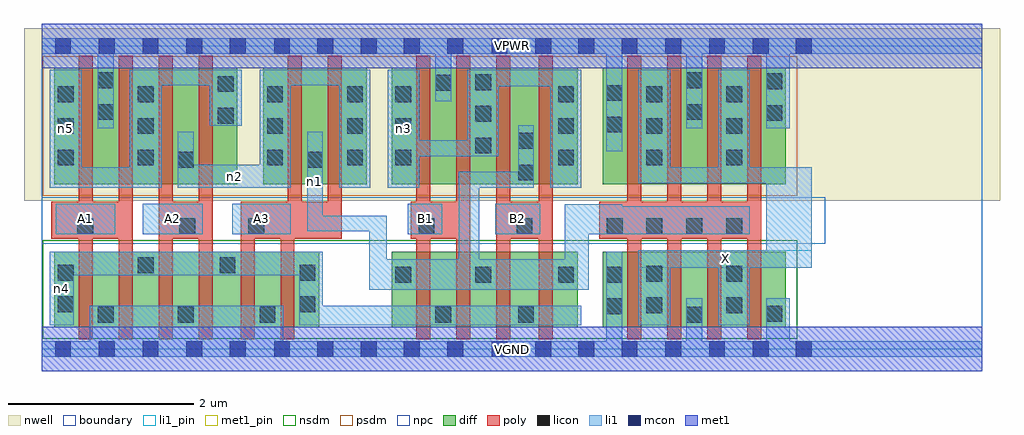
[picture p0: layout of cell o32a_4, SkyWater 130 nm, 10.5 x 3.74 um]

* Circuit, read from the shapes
.subckt o32a_4 A1 A2 A3 B1 B2 VGND VPWR X n1 n2 n3 n4 n5
XM1 VGND A1 n4 VSUBS sky130_fd_pr__nfet_01v8 w=0.81 l=0.15 m=2
XM2 VGND A2 n4 VSUBS sky130_fd_pr__nfet_01v8 w=0.81 l=0.15 m=2
XM3 VGND A3 n4 VSUBS sky130_fd_pr__nfet_01v8 w=0.81 l=0.15 m=2
XM4 n4 B1 n1 VSUBS sky130_fd_pr__nfet_01v8 w=0.81 l=0.15 m=2
XM5 n4 B2 n1 VSUBS sky130_fd_pr__nfet_01v8 w=0.81 l=0.15 m=2
XM6 X n1 VGND VSUBS sky130_fd_pr__nfet_01v8 w=0.81 l=0.15 m=4
XM7 VPWR A1 n5 n6 sky130_fd_pr__pfet_01v8 w=1.25 l=0.15 m=2
XM8 n2 A2 n5 n6 sky130_fd_pr__pfet_01v8 w=1.25 l=0.15 m=2
XM9 n1 A3 n2 n6 sky130_fd_pr__pfet_01v8 w=1.25 l=0.15 m=2
XM10 VPWR B1 n3 n6 sky130_fd_pr__pfet_01v8 w=1.25 l=0.15 m=2
XM11 n1 B2 n3 n6 sky130_fd_pr__pfet_01v8 w=1.25 l=0.15 m=2
XM12 X n1 VPWR n6 sky130_fd_pr__pfet_01v8 w=1.25 l=0.15 m=4
.ends

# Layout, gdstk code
import gdstk
lib = gdstk.Library(unit=1e-6, precision=1e-09)
def R(c, l, rs):  # rectangles x0, y0, x1, y1
    for r in rs: c.add(gdstk.rectangle(r[:2], r[2:], *l))
def A(c, l, x, y, w, h, nx, ny, dx, dy):  # array of equal rectangles
    R(c, l, [(x+i*dx, y+j*dy, x+i*dx+w, y+j*dy+h) for i in range(nx) for j in range(ny)])
nwell = (64, 20)
diff = (65, 20)
poly = (66, 20)
licon = (66, 44)
li1_pin = (67, 16)
li1 = (67, 20)
mcon = (67, 44)
met1_pin = (68, 16)
met1 = (68, 20)
nsdm = (93, 44)
psdm = (94, 20)
npc = (95, 20)
boundary = (235, 4)

o32a_4 = lib.new_cell('o32a_4')
R(o32a_4, nwell, [(-0.19,1.595,10.31,3.45), (0,1.595,10.12,3.45)])
R(o32a_4, diff, [(0.135,0.235,2.985,1.045), (3.765,0.235,5.765,1.045), (6.035,0.235,8.005,1.045), (0.135,1.775,2.105,3.025), (2.385,1.775,3.495,3.025), (3.765,1.775,5.765,3.025), (6.035,1.775,8.005,3.025)])
A(o32a_4, poly, 0.4, 0.105, 0.15, 3.05, 4, 1, 0.43, 0)
A(o32a_4, poly, 4.03, 0.105, 0.15, 3.05, 3, 1, 0.43, 0)
A(o32a_4, poly, 6.3, 0.105, 0.15, 3.05, 4, 1, 0.43, 0)
R(o32a_4, poly, [(2.14,0.105,2.29,1.585), (2.57,0.105,2.72,1.585), (5.35,0.105,5.5,3.155), (0.105,1.185,0.98,1.585), (1.26,1.185,1.84,1.585), (2.14,1.185,3.23,1.585), (2.65,1.185,2.8,3.155), (3.08,1.185,3.23,3.155), (3.97,1.185,4.61,1.585), (4.89,1.185,5.5,1.585), (6,1.185,7.74,1.585)])
A(o32a_4, licon, 6.505, 1.235, 0.17, 0.17, 3, 1, 0.43, 0)
A(o32a_4, licon, 0.175, 1.975, 0.17, 0.17, 1, 3, 0, 0.34)
A(o32a_4, licon, 1.035, 1.975, 0.17, 0.17, 1, 3, 0, 0.34)
A(o32a_4, licon, 2.425, 1.975, 0.17, 0.17, 1, 3, 0, 0.34)
A(o32a_4, licon, 3.285, 1.975, 0.17, 0.17, 1, 3, 0, 0.34)
A(o32a_4, licon, 3.805, 1.975, 0.17, 0.17, 1, 3, 0, 0.34)
A(o32a_4, licon, 5.555, 1.975, 0.17, 0.17, 1, 3, 0, 0.34)
A(o32a_4, licon, 6.505, 1.975, 0.17, 0.17, 1, 3, 0, 0.34)
A(o32a_4, licon, 7.365, 1.975, 0.17, 0.17, 1, 3, 0, 0.34)
A(o32a_4, licon, 4.665, 2.105, 0.17, 0.17, 1, 3, 0, 0.34)
R(o32a_4, licon, [(0.605,0.285,0.775,0.455), (1.465,0.285,1.635,0.455), (2.345,0.285,2.515,0.455), (4.235,0.285,4.405,0.455), (5.125,0.285,5.295,0.455), (6.935,0.285,7.105,0.455), (7.795,0.295,7.965,0.465), (6.075,0.375,6.245,0.545), (6.505,0.385,6.675,0.555), (7.365,0.385,7.535,0.555), (0.175,0.395,0.345,0.565), (2.775,0.395,2.945,0.565), (3.805,0.715,3.975,0.885), (4.665,0.715,4.835,0.885), (5.555,0.715,5.725,0.885), (6.075,0.715,6.245,0.885), (6.505,0.725,6.675,0.895), (7.365,0.725,7.535,0.895), (0.175,0.735,0.345,0.905), (2.775,0.735,2.945,0.905), (1.035,0.815,1.205,0.985), (1.915,0.815,2.085,0.985), (0.385,1.235,0.555,1.405), (1.48,1.235,1.65,1.405), (2.225,1.235,2.395,1.405), (4.055,1.235,4.225,1.405), (5.11,1.235,5.28,1.405), (6.08,1.235,6.25,1.405), (5.125,1.815,5.295,1.985), (1.465,1.95,1.635,2.12), (2.855,1.95,3.025,2.12), (5.125,2.155,5.295,2.325), (6.075,2.33,6.245,2.5), (1.895,2.425,2.065,2.595), (7.795,2.455,7.965,2.625), (0.605,2.465,0.775,2.635), (6.935,2.465,7.105,2.635), (6.075,2.67,6.245,2.84), (1.895,2.765,2.065,2.935), (4.235,2.78,4.405,2.95), (7.795,2.795,7.965,2.965), (0.605,2.805,0.775,2.975), (6.935,2.805,7.105,2.975)])
R(o32a_4, li1_pin, [(6.42,0.875,8.285,1.065), (0.15,1.235,0.79,1.565), (1.09,1.235,1.735,1.565), (2.05,1.235,2.68,1.565), (3.94,1.235,4.31,1.565), (4.88,1.235,5.365,1.565)])
R(o32a_4, li1, [(0,-0.085,10.12,0.085), (0.52,-0.085,2.6,0.465), (6.075,-0.085,6.245,1.045), (6.935,-0.085,7.105,0.545), (7.795,-0.085,8.05,0.545), (0.085,0.255,0.345,1.045), (2.77,0.255,5.805,0.465), (2.77,0.255,3.025,1.045), (6.42,0.255,6.76,1.065), (7.28,0.255,7.62,1.065), (3.525,0.635,5.885,0.965), (3.525,0.635,3.715,1.435), (4.485,0.635,4.71,1.905), (5.63,0.635,5.885,1.555), (0.085,0.795,3.025,1.045), (6.42,0.875,8.285,1.065), (7.795,0.875,8.285,1.955), (0.15,1.235,0.79,1.565), (1.09,1.235,1.735,1.565), (2.05,1.235,2.68,1.565), (3.94,1.235,4.31,1.565), (4.88,1.235,5.365,1.565), (5.63,1.235,7.62,1.535), (5.63,1.235,6.245,1.555), (2.855,1.265,3.025,2.335), (2.855,1.265,3.715,1.435), (0.085,1.735,0.43,3.005), (0.085,1.735,1.29,1.955), (0.95,1.735,1.29,3.005), (1.465,1.735,2.68,1.98), (1.465,1.735,1.635,2.335), (2.345,1.735,2.68,3.005), (3.2,1.735,3.535,3.005), (3.725,1.735,4.06,3.005), (4.485,1.735,5.295,1.905), (5.125,1.735,5.295,2.405), (5.47,1.735,5.805,3.005), (6.42,1.785,6.76,3.005), (6.42,1.785,8.285,1.955), (7.28,1.785,7.62,3.005), (3.725,2.075,4.92,2.245), (4.58,2.075,4.92,3.005), (6.075,2.125,6.245,3.345), (0.605,2.375,0.775,3.345), (6.935,2.375,7.105,3.345), (7.795,2.375,8.05,3.345), (1.81,2.4,2.15,3.005), (4.235,2.665,4.405,3.345), (4.58,2.825,5.805,3.005), (0.95,2.835,2.15,3.005), (2.345,2.835,3.535,3.005), (0,3.175,10.12,3.345)])
A(o32a_4, mcon, 0.145, -0.085, 0.17, 0.17, 5, 2, 0.47, 3.26)
A(o32a_4, mcon, 5.31, -0.085, 0.17, 0.17, 3, 2, 0.465, 3.26)
A(o32a_4, mcon, 6.71, -0.085, 0.17, 0.17, 3, 2, 0.47, 3.26)
R(o32a_4, mcon, [(2.5,-0.085,2.67,0.085), (2.965,-0.085,3.135,0.085), (3.435,-0.085,3.605,0.085), (3.895,-0.085,4.065,0.085), (4.365,-0.085,4.535,0.085), (4.84,-0.085,5.01,0.085), (8.115,-0.085,8.285,0.085), (2.5,3.175,2.67,3.345), (2.965,3.175,3.135,3.345), (3.435,3.175,3.605,3.345), (3.895,3.175,4.065,3.345), (4.365,3.175,4.535,3.345), (4.84,3.175,5.01,3.345), (8.115,3.175,8.285,3.345)])
R(o32a_4, met1_pin, [(0,-0.24,10.12,0.24), (0,3.02,10.12,3.5)])
R(o32a_4, met1, [(0,-0.24,10.12,0.24), (0,3.02,10.12,3.5)])
R(o32a_4, nsdm, [(0.01,0.11,8.13,1.17)])
R(o32a_4, psdm, [(0.01,1.65,8.13,3.15)])
R(o32a_4, npc, [(0,1.135,8.43,1.635)])
R(o32a_4, boundary, [(0,0,10.12,3.26)])
o32a_4.add(gdstk.Label('A1', (0.47,1.4), layer=67, texttype=5))
o32a_4.add(gdstk.Label('A2', (1.412,1.4), layer=67, texttype=5))
o32a_4.add(gdstk.Label('A3', (2.365,1.4), layer=67, texttype=5))
o32a_4.add(gdstk.Label('B1', (4.125,1.4), layer=67, texttype=5))
o32a_4.add(gdstk.Label('B2', (5.122,1.4), layer=67, texttype=5))
o32a_4.add(gdstk.Label('X', (7.352,0.97), layer=67, texttype=5))
o32a_4.add(gdstk.Label('n4', (0.215,0.65), layer=67, texttype=5))
o32a_4.add(gdstk.Label('n1', (2.94,1.8), layer=67, texttype=5))
o32a_4.add(gdstk.Label('n5', (0.257,2.37), layer=67, texttype=5))
o32a_4.add(gdstk.Label('n2', (2.072,1.857), layer=67, texttype=5))
o32a_4.add(gdstk.Label('n3', (3.892,2.37), layer=67, texttype=5))
o32a_4.add(gdstk.Label('VPWR', (5.06,3.26), layer=68, texttype=5))
o32a_4.add(gdstk.Label('VGND', (5.06,0), layer=68, texttype=5))
o32a_4.add(gdstk.Label('A1', (0.47,1.4), layer=67, texttype=16))
o32a_4.add(gdstk.Label('A2', (1.412,1.4), layer=67, texttype=16))
o32a_4.add(gdstk.Label('A3', (2.365,1.4), layer=67, texttype=16))
o32a_4.add(gdstk.Label('B1', (4.125,1.4), layer=67, texttype=16))
o32a_4.add(gdstk.Label('B2', (5.122,1.4), layer=67, texttype=16))
o32a_4.add(gdstk.Label('X', (7.352,0.97), layer=67, texttype=16))
o32a_4.add(gdstk.Label('VPWR', (5.06,3.26), layer=68, texttype=16))
o32a_4.add(gdstk.Label('VGND', (5.06,0), layer=68, texttype=16))

lib.write_gds('o32a_4.gds')
